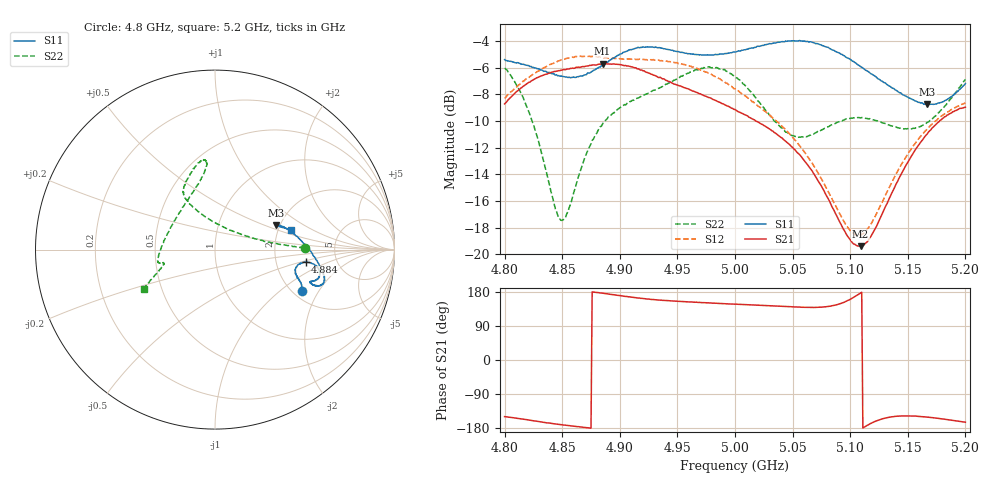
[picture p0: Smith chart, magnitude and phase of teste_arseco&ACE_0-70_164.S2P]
! Network Analyzer HP8722D
! Hewlett-Packard
! Data name: Linha & Wilkinson
! Saver's name: Rodrigo Anjos
! Comments: Teste da utilização de aquisição
! continua pelo VNA HP8722D
! Time and date: 8/5/2025 14:07
!  Frequency  S11  S21  S12  S22
# HZ  S  MA R 50
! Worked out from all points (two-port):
!   401 points, 4.8 GHz to 5.2 GHz, reference 50 ohm
!   highest |S21| = -5.69 dB at 4.885 GHz (marker M1); lowest = -19.4 dB at 5.109 GHz (marker M2)
!   |S21| within 3 dB of the highest: 4.8 GHz to 4.989 GHz (188.7 MHz wide, 3.86 % of centre)
!   lowest |S11| = -8.8 dB at 5.167 GHz (marker M3), VSWR 2.15, Z = 94.8 + j30.1 ohm
!   |S11| at or under -10 dB: nowhere
!   |S22| runs from -17.5 to -5.9 dB; largest |S21 - S12| = 1.1
!   S11 on the Smith chart (normalised r, x): 4.8 GHz: 2.24, -1.45; 4.884 GHz: 2.96, -0.56; 5.2 GHz: 2.35, +0.64
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4.8e9  0.5381 -25.4  0.3667 -149.4  0.3851 10.0  0.4999 1.2
4.812e9  0.5233 -22.6  0.4132 -154.4  0.4311 8.0  0.4203 2.5
4.822e9  0.5067 -20.8  0.4431 -158.8  0.4648 6.4  0.3345 6.0
4.848e9  0.4659 -16.2  0.489 -170.2  0.5341 2.4  0.1354 57.0
4.854e9  0.463 -14.6  0.4956 -172.5  0.544 1.6  0.1418 82.1
4.867e9  0.4676 -10.9  0.5054 -177.1  0.5528 -0.3  0.2131 111.1
4.884e9  0.51 -7.9  0.5175 176.6  0.5491 -1.7  0.3023 119.6
4.885e9  0.5135 -7.9  0.5192 176.4  0.549 -1.7  0.3082 119.3
4.909e9  0.5869 -10.4  0.5071 166.3  0.5409 -1.2  0.3747 118.2
4.934e9  0.5972 -15.8  0.4604 158.1  0.5355 -2.1  0.4201 111.5
4.975e9  0.5595 -18.8  0.3916 151.2  0.4826 -5.7  0.5044 98.3
5e9  0.574 -19.6  0.3493 147.2  0.4188 -5.7  0.4648 96.1
5.018e9  0.5986 -19.5  0.3163 145.2  0.3666 -3.1  0.3873 102.9
5.045e9  0.6302 -17.5  0.2635 141.0  0.2902 2.7  0.287 133.0
5.067e9  0.625 -13.4  0.2052 138.9  0.2198 9.1  0.2817 164.5
5.097e9  0.5475 -3.3  0.1181 155.6  0.1277 36.4  0.3224 -171.3
5.109e9  0.5067 2.3  0.1072 176.8  0.1181 60.1  0.3248 -167.8
5.117e9  0.4799 6.4  0.1151 -168.6  0.1276 75.6  0.323 -166.7
5.134e9  0.4281 14.3  0.1623 -151.0  0.1783 94.7  0.3056 -166.0
5.167e9  0.365 22.1  0.2834 -150.7  0.2956 101.8  0.313 -161.8
5.182e9  0.3771 20.3  0.3282 -156.3  0.3366 101.9  0.3594 -157.1
5.2e9  0.4377 14.6  0.3564 -164.2  0.3702 102.3  0.4536 -151.1
